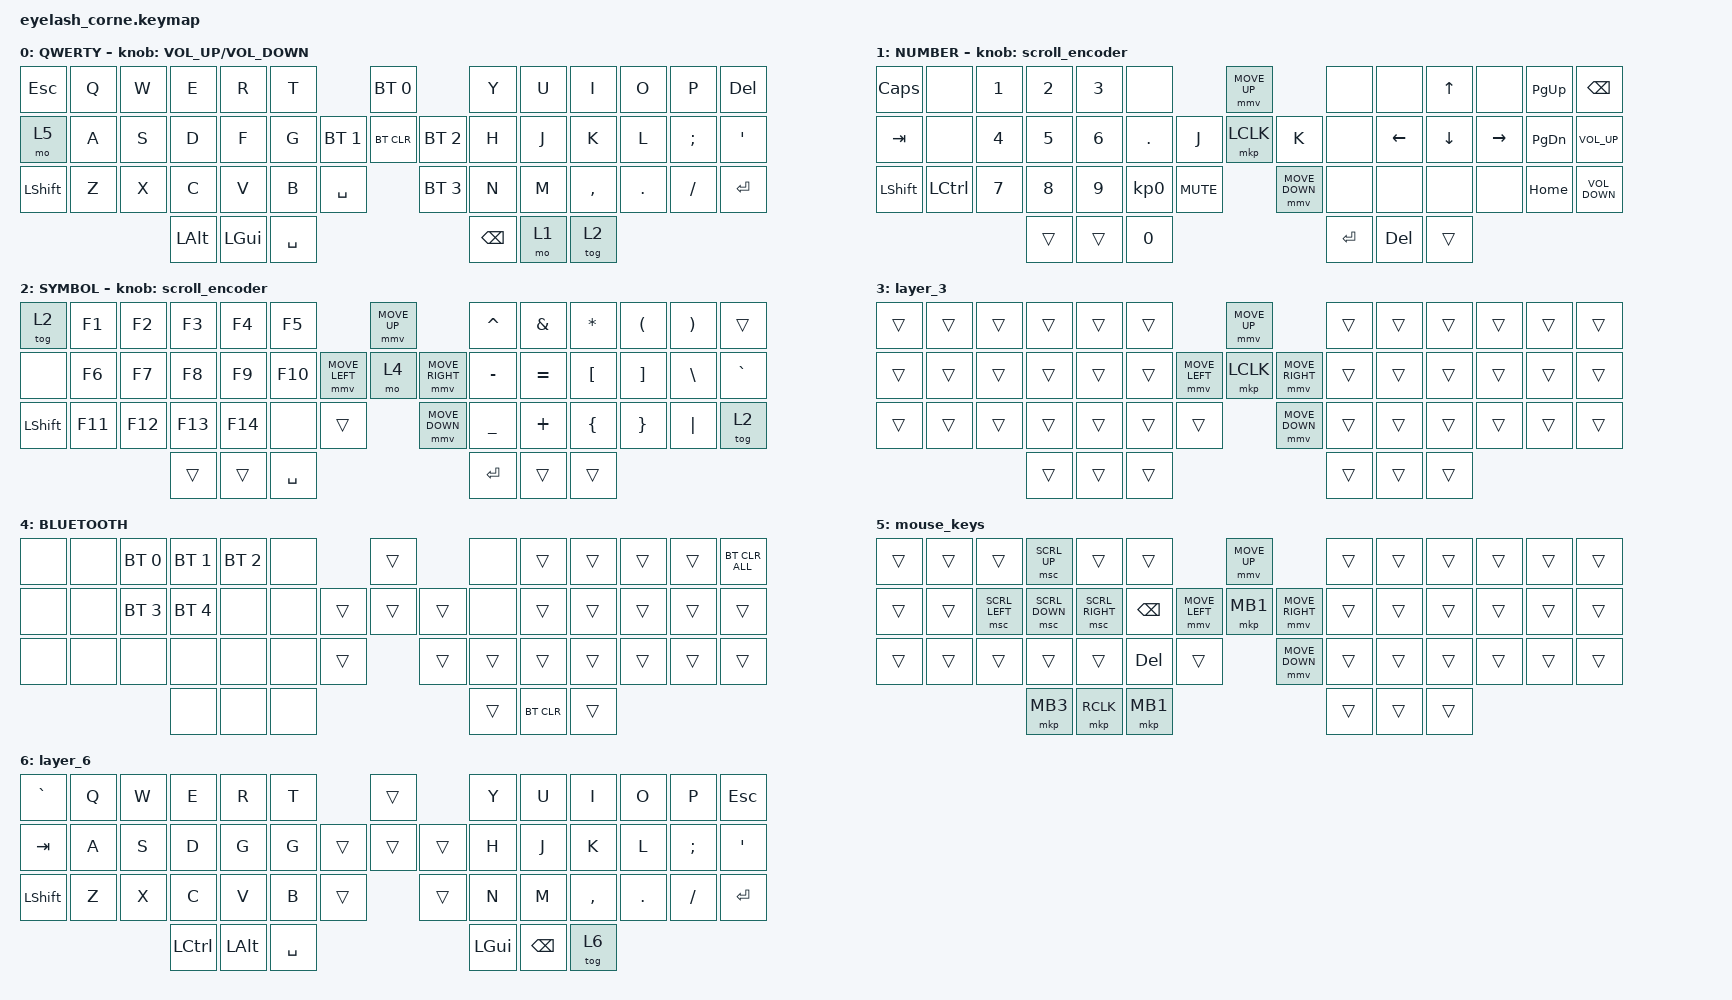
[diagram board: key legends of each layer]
#include <dt-bindings/zmk/mouse.h>
#include <input/processors.dtsi>
#include <behaviors.dtsi>
#include <dt-bindings/zmk/bt.h>
#include <dt-bindings/zmk/keys.h>
#include <dt-bindings/zmk/pointing.h>
#include <dt-bindings/zmk/rgb.h>

/*

   &mmv_input_listener {
       input-processors = <&zip_xy_scaler 2 1>;
   };

   &msc_input_listener {
       input-processors = <&zip_xy_scaler 2 1>;
   };

 */

#define ZMK_MOUSE_DEFAULT_MOVE_VAL 1200  // 600
#define ZMK_MOUSE_DEFAULT_SCRL_VAL 20    // 10

/ {
    behaviors {
        td0: td0 {
            compatible = "zmk,behavior-tap-dance";
            display-name = "Shift/Caps Lock Tap Dance";
            #binding-cells = <0>;
            bindings = <&kp LEFT_SHIFT>, <&kp CAPS>;
        };
    };

    rgb_encoder: rgb_encoder {
        compatible = "zmk,behavior-sensor-rotate";
        #sensor-binding-cells = <0>;
        bindings = <&rgb_ug RGB_BRI>, <&rgb_ug RGB_BRD>;
    };

    scroll_encoder: scroll_encoder {
        compatible = "zmk,behavior-sensor-rotate";
        #sensor-binding-cells = <0>;
        bindings = <&msc SCRL_DOWN>, <&msc SCRL_UP>;

        tap-ms = <30>;
    };

    combos {
        compatible = "zmk,combos";

        control_combo {
            bindings = <&kp LCTRL>;
            key-positions = <29 30>;
            layers = <0>;
        };

        gamelayer {
            bindings = <&tog 6>;
            key-positions = <45 46 47>;
        };
    };

    keymap {
        compatible = "zmk,keymap";

        default_layer {
            display-name = "QWERTY";
            bindings = <
&kp ESC         &kp Q  &kp W  &kp E         &kp R         &kp T                                 &bt BT_SEL 0                &kp Y          &kp U  &kp I      &kp O    &kp P     &kp DELETE
&mo 5           &kp A  &kp S  &kp D         &kp F         &kp G                   &bt BT_SEL 1  &bt BT_CLR    &bt BT_SEL 2  &kp H          &kp J  &kp K      &kp L    &kp SEMI  &kp SQT
&kp LEFT_SHIFT  &kp Z  &kp X  &kp C         &kp V         &kp B      &kp SPACE                  &bt BT_SEL 3                &kp N          &kp M  &kp COMMA  &kp DOT  &kp FSLH  &kp ENTER
                              &kp LEFT_ALT  &kp LEFT_GUI  &kp SPACE                                                         &kp BACKSPACE  &mo 1  &tog 2
            >;

            sensor-bindings = <&inc_dec_kp C_VOLUME_UP C_VOLUME_DOWN>;
        };

        lower_layer {
            display-name = "NUMBER";
            bindings = <
&kp CAPS        &none      &kp NUMBER_1  &kp NUMBER_2  &kp NUMBER_3  &none                                 &mmv MOVE_UP           &none      &none     &kp UP_ARROW  &none      &kp PAGE_UP    &kp BSPC
&kp TAB         &none      &kp NUMBER_4  &kp N5        &kp NUMBER_6  &kp PERIOD                     &kp J  &mkp LCLK       &kp K  &none      &kp LEFT  &kp DOWN      &kp RIGHT  &kp PAGE_DOWN  &kp C_VOLUME_UP
&kp LEFT_SHIFT  &kp LCTRL  &kp N7        &kp N8        &kp N9        &kp KP_NUMBER_0  &kp C_MUTE           &mmv MOVE_DOWN         &none      &none     &none         &none      &kp HOME       &kp K_VOLUME_DOWN
                                         &trans        &trans        &kp N0                                                       &kp ENTER  &kp DEL   &trans
            >;

            sensor-bindings = <&scroll_encoder>;
        };

        raise_layer {
            display-name = "SYMBOL";
            bindings = <
&tog 2      &kp F1   &kp F2   &kp F3   &kp F4   &kp F5                               &mmv MOVE_UP                     &kp CARET  &kp AMPS   &kp ASTRK  &kp LPAR  &kp RPAR  &trans
&none       &kp F6   &kp F7   &kp F8   &kp F9   &kp F10              &mmv MOVE_LEFT  &mo 4           &mmv MOVE_RIGHT  &kp MINUS  &kp EQUAL  &kp LBKT   &kp RBKT  &kp BSLH  &kp GRAVE
&kp LSHIFT  &kp F11  &kp F12  &kp F13  &kp F14  &none      &trans                    &mmv MOVE_DOWN                   &kp UNDER  &kp PLUS   &kp LBRC   &kp RBRC  &kp PIPE  &tog 2
                              &trans   &trans   &kp SPACE                                                             &kp RET    &trans     &trans
            >;

            sensor-bindings = <&scroll_encoder>;
        };

        layer_3 {
            bindings = <
&trans  &trans  &trans  &trans  &trans  &trans                            &mmv MOVE_UP                     &trans  &trans  &trans  &trans  &trans  &trans
&trans  &trans  &trans  &trans  &trans  &trans            &mmv MOVE_LEFT  &mkp LCLK       &mmv MOVE_RIGHT  &trans  &trans  &trans  &trans  &trans  &trans
&trans  &trans  &trans  &trans  &trans  &trans  &trans                    &mmv MOVE_DOWN                   &trans  &trans  &trans  &trans  &trans  &trans
                        &trans  &trans  &trans                                                             &trans  &trans  &trans
            >;
        };

        BLUETOOTH {
            bindings = <
&none  &none  &bt BT_SEL 0  &bt BT_SEL 1  &bt BT_SEL 2  &none                    &trans          &none   &trans      &trans  &trans  &trans  &bt BT_CLR_ALL
&none  &none  &bt BT_SEL 3  &bt BT_SEL 4  &none         &none            &trans  &trans  &trans  &none   &trans      &trans  &trans  &trans  &trans
&none  &none  &none         &none         &none         &none  &trans            &trans          &trans  &trans      &trans  &trans  &trans  &trans
                            &none         &none         &none                                    &trans  &bt BT_CLR  &trans
            >;
        };

        mouse_keys {
            bindings = <
&trans  &trans  &trans          &msc SCRL_UP    &trans           &trans                                   &mmv MOVE_UP                     &trans  &trans  &trans  &trans  &trans  &trans
&trans  &trans  &msc SCRL_LEFT  &msc SCRL_DOWN  &msc SCRL_RIGHT  &kp BACKSPACE            &mmv MOVE_LEFT  &mkp MB1        &mmv MOVE_RIGHT  &trans  &trans  &trans  &trans  &trans  &trans
&trans  &trans  &trans          &trans          &trans           &kp DEL        &trans                    &mmv MOVE_DOWN                   &trans  &trans  &trans  &trans  &trans  &trans
                                &mkp MB3        &mkp RCLK        &mkp MB1                                                                  &trans  &trans  &trans
            >;
        };

        layer_6 {
            bindings = <
&kp GRAVE       &kp Q  &kp W  &kp E      &kp R         &kp T                        &trans          &kp Y         &kp U          &kp I      &kp O       &kp P          &kp ESCAPE
&kp TAB         &kp A  &kp S  &kp D      &kp G         &kp G                &trans  &trans  &trans  &kp H         &kp J          &kp K      &kp L       &kp SEMICOLON  &kp SQT
&kp LEFT_SHIFT  &kp Z  &kp X  &kp C      &kp V         &kp B      &trans            &trans          &kp N         &kp M          &kp COMMA  &kp PERIOD  &kp SLASH      &kp ENTER
                              &kp LCTRL  &kp LEFT_ALT  &kp SPACE                                    &kp LEFT_GUI  &kp BACKSPACE  &tog 6
            >;
        };
    };
};
